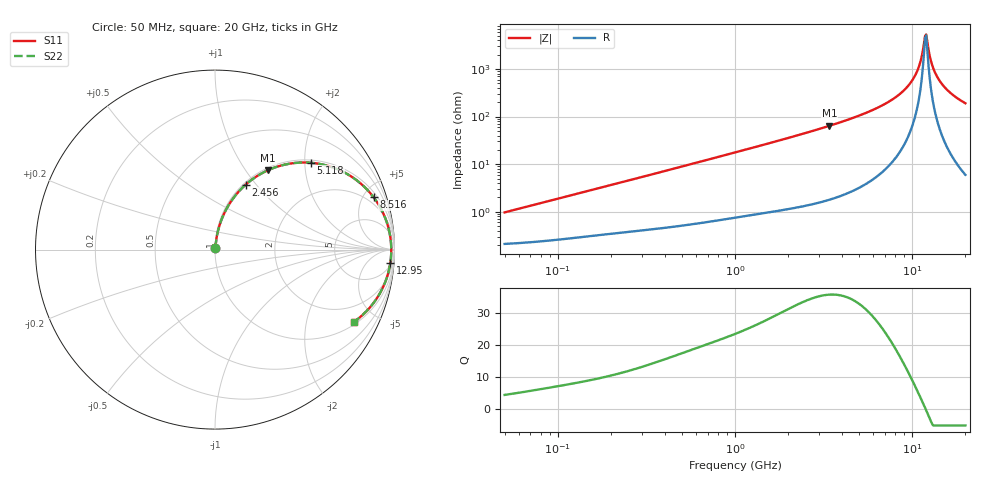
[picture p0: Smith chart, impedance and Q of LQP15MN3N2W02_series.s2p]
!Murata Part Number: LQP15MN3N2W02
!These Parameters are Measured in Series Mode Connection
!  o--[Z]--o
!Port1  Port2
!  o-------o
!Freq. Start=50[MHz] Stop=20[GHz], 401[Steps]
# Hz S RI R 50
!Freq.(Hz) S11(Real) S11(Imag) S21(Real) S21(Imag) S12(Real) S12(Imag) S22(Real) S22(Imag)
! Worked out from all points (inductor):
!   401 points, 50 MHz to 20 GHz, reference 50 ohm
!   read as one part in series: L = 3.01 nH near 51.52 MHz
!   highest Q = 35.7 at 3.415 GHz (marker M1), where L = 2.98 nH
!   self-resonance near 11.84 GHz
!   S11 on the Smith chart (normalised r, x): 50 MHz: 1.00, +0.02; 2.456 GHz: 1.03, +0.88; 5.118 GHz: 1.07, +2.15; 8.516 GHz: 1.36, +5.92; 12.95 GHz: 6, -24; 20 GHz: 1.12, -3.80
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5e7  0.0022 0.00945  0.9978 -0.00945  0.9978 -0.00945  0.0022 0.00945
1.364002e8  0.00357 0.0251  0.9964 -0.0251  0.9964 -0.0251  0.00357 0.0251
3.721004e8  0.00879 0.0657  0.9912 -0.0657  0.9912 -0.0657  0.00879 0.0657
1e9  0.0369 0.1683  0.9631 -0.1683  0.9631 -0.1683  0.0369 0.1683
2.456456e9  0.1709 0.3618  0.8291 -0.3618  0.8291 -0.3618  0.1709 0.3618
2.728004e9  0.2041 0.3889  0.7959 -0.3889  0.7959 -0.3889  0.2041 0.3889
3.415248e9  0.2956 0.4425  0.7044 -0.4425  0.7044 -0.4425  0.2956 0.4425
5.117541e9  0.5354 0.4836  0.4646 -0.4836  0.4646 -0.4836  0.5354 0.4836
7.442007e9  0.8021 0.3763  0.1979 -0.3763  0.1979 -0.3763  0.8021 0.3763
8.516016e9  0.8837 0.2917  0.1163 -0.2917  0.1163 -0.2917  0.8837 0.2917
9.600142e9  0.9391 0.1983  0.0609 -0.1983  0.0609 -0.1983  0.9391 0.1983
1.050288e10  0.9667 0.1198  0.0333 -0.1198  0.0333 -0.1198  0.9667 0.1198
1.098561e10  0.9755 0.0787  0.0245 -0.0787  0.0245 -0.0787  0.9755 0.0787
1.166392e10  0.9816 0.0228  0.0184 -0.0228  0.0184 -0.0228  0.9816 0.0228
1.183995e10  0.9821 0.00868  0.0179 -0.00868  0.0179 -0.00868  0.9821 0.00868
1.201863e10  0.9823 -0.00542  0.0177 0.00542  0.0177 0.00542  0.9823 -0.00542
1.220001e10  0.982 -0.0195  0.018 0.0195  0.018 0.0195  0.982 -0.0195
1.295331e10  0.9768 -0.0756  0.0232 0.0756  0.0232 0.0756  0.9768 -0.0756
1.375312e10  0.9652 -0.1305  0.0348 0.1305  0.0348 0.1305  0.9652 -0.1305
1.504638e10  0.9365 -0.2089  0.0635 0.2089  0.0635 0.2089  0.9365 -0.2089
1.721783e10  0.8715 -0.3124  0.1285 0.3124  0.1285 0.3124  0.8715 -0.3124
2e10  0.7765 -0.4012  0.2235 0.4012  0.2235 0.4012  0.7765 -0.4012
